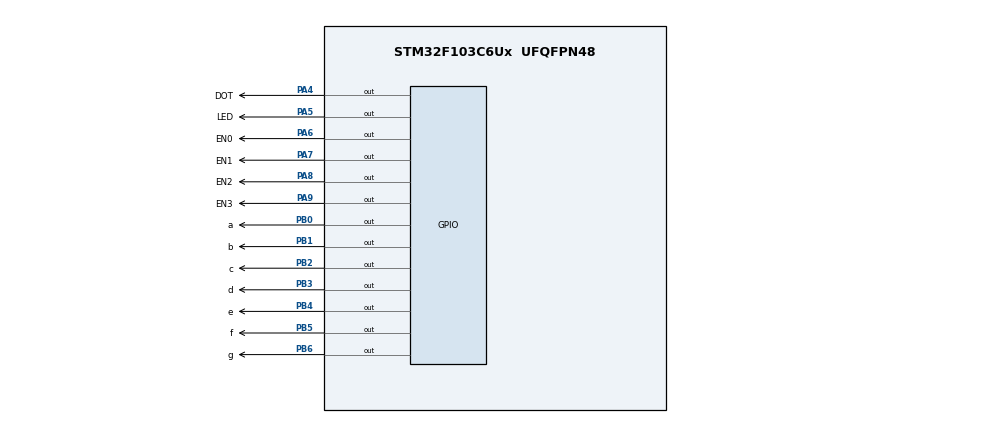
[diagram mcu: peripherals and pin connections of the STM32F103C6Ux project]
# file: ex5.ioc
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Mcu.Family=STM32F1
Mcu.Name=STM32F103C6Ux
Mcu.Package=UFQFPN48
NVIC.PriorityGroup=NVIC_PRIORITYGROUP_4
NVIC.TIM2_IRQn=true\:0\:0\:false\:false\:true\:true\:true
PA4.GPIO_Label=DOT
PA4.Signal=GPIO_Output
PA5.GPIO_Label=LED
PA5.Signal=GPIO_Output
PA6.GPIO_Label=EN0
PA6.Signal=GPIO_Output
PA7.GPIO_Label=EN1
PA7.Signal=GPIO_Output
PA8.GPIO_Label=EN2
PA8.Signal=GPIO_Output
PA9.GPIO_Label=EN3
PA9.Signal=GPIO_Output
PB0.GPIO_Label=a
PB0.Signal=GPIO_Output
PB1.GPIO_Label=b
PB1.Signal=GPIO_Output
PB2.GPIO_Label=c
PB2.Signal=GPIO_Output
PB3.GPIO_Label=d
PB3.Signal=GPIO_Output
PB4.GPIO_Label=e
PB4.Signal=GPIO_Output
PB5.GPIO_Label=f
PB5.Signal=GPIO_Output
PB6.GPIO_Label=g
PB6.Signal=GPIO_Output
ProjectManager.HeapSize=0x200
ProjectManager.StackSize=0x400
ProjectManager.TargetToolchain=STM32CubeIDE
RCC.APB1Freq_Value=8000000
RCC.APB2Freq_Value=8000000
TIM2.Period=9
TIM2.Prescaler=7999
VP_SYS_VS_ND.Mode=No_Debug
VP_TIM2_VS_ClockSourceINT.Mode=Internal
board=custom

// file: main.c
/* USER CODE BEGIN Header */
/**
  ******************************************************************************
  * @file           : main.c
  * @brief          : Main program body
  ******************************************************************************
  * @attention
  *
  * <h2><center>&copy; Copyright (c) 2022 STMicroelectronics.
  * All rights reserved.</center></h2>
  *
  * This software component is licensed by ST under BSD 3-Clause license,
  * the "License"; You may not use this file except in compliance with the
  * License. You may obtain a copy of the License at:
  *                        opensource.org/licenses/BSD-3-Clause
  *
  ******************************************************************************
  */
/* USER CODE END Header */
#include "main.h"

TIM_HandleTypeDef htim2;

void SystemClock_Config(void);
static void MX_GPIO_Init(void);
static void MX_TIM2_Init(void);

int main(void)
{

  /* MCU Configuration--------------------------------------------------------*/

  /* Reset of all peripherals, Initializes the Flash interface and the Systick. */
  HAL_Init();

  /* Configure the system clock */
  SystemClock_Config();

  /* Initialize all configured peripherals */
  MX_GPIO_Init();
  MX_TIM2_Init();
  /* USER CODE BEGIN 2 */

  HAL_TIM_Base_Start_IT(&htim2);

  /* USER CODE END 2 */

  /* Infinite loop */
  /* USER CODE BEGIN WHILE */
  int hour = 15, minute = 8, second = 50;
   while (1)
   {
     /* USER CODE END WHILE */

     /* USER CODE BEGIN 3 */
 	second++;
 	if (second >=60){
 		second = 0;
 		minute++;
 	}
 	if (minute >= 60){
 		minute = 0;
 		hour++;
 	}
 	if (hour >=24){
 		hour = 0;
 	}
 	updateClockBuffer(hour,minute);
 	HAL_Delay(1000);
   }
  /* USER CODE END 3 */
}

void SystemClock_Config(void)
{
  RCC_OscInitTypeDef RCC_OscInitStruct = {0};
  RCC_ClkInitTypeDef RCC_ClkInitStruct = {0};

  /** Initializes the RCC Oscillators according to the specified parameters
  * in the RCC_OscInitTypeDef structure.
  */
  RCC_OscInitStruct.OscillatorType = RCC_OSCILLATORTYPE_HSI;
  RCC_OscInitStruct.HSIState = RCC_HSI_ON;
  RCC_OscInitStruct.HSICalibrationValue = RCC_HSICALIBRATION_DEFAULT;
  RCC_OscInitStruct.PLL.PLLState = RCC_PLL_NONE;
  if (HAL_RCC_OscConfig(&RCC_OscInitStruct) != HAL_OK)
  {
    Error_Handler();
  }
  /** Initializes the CPU, AHB and APB buses clocks
  */
  RCC_ClkInitStruct.ClockType = RCC_CLOCKTYPE_HCLK|RCC_CLOCKTYPE_SYSCLK
                              |RCC_CLOCKTYPE_PCLK1|RCC_CLOCKTYPE_PCLK2;
  RCC_ClkInitStruct.SYSCLKSource = RCC_SYSCLKSOURCE_HSI;
  RCC_ClkInitStruct.AHBCLKDivider = RCC_SYSCLK_DIV1;
  RCC_ClkInitStruct.APB1CLKDivider = RCC_HCLK_DIV1;
  RCC_ClkInitStruct.APB2CLKDivider = RCC_HCLK_DIV1;

  if (HAL_RCC_ClockConfig(&RCC_ClkInitStruct, FLASH_LATENCY_0) != HAL_OK)
  {
    Error_Handler();
  }
}

static void MX_TIM2_Init(void)
{

  TIM_ClockConfigTypeDef sClockSourceConfig = {0};
  TIM_MasterConfigTypeDef sMasterConfig = {0};

  htim2.Instance = TIM2;
  htim2.Init.Prescaler = 7999;
  htim2.Init.CounterMode = TIM_COUNTERMODE_UP;
  htim2.Init.Period = 9;
  htim2.Init.ClockDivision = TIM_CLOCKDIVISION_DIV1;
  htim2.Init.AutoReloadPreload = TIM_AUTORELOAD_PRELOAD_DISABLE;
  if (HAL_TIM_Base_Init(&htim2) != HAL_OK)
  {
    Error_Handler();
  }
  sClockSourceConfig.ClockSource = TIM_CLOCKSOURCE_INTERNAL;
  if (HAL_TIM_ConfigClockSource(&htim2, &sClockSourceConfig) != HAL_OK)
  {
    Error_Handler();
  }
  sMasterConfig.MasterOutputTrigger = TIM_TRGO_RESET;
  sMasterConfig.MasterSlaveMode = TIM_MASTERSLAVEMODE_DISABLE;
  if (HAL_TIMEx_MasterConfigSynchronization(&htim2, &sMasterConfig) != HAL_OK)
  {
    Error_Handler();
  }

}

static void MX_GPIO_Init(void)
{
  GPIO_InitTypeDef GPIO_InitStruct = {0};

  /* GPIO Ports Clock Enable */
  __HAL_RCC_GPIOA_CLK_ENABLE();
  __HAL_RCC_GPIOB_CLK_ENABLE();

  /*Configure GPIO pin Output Level */
  HAL_GPIO_WritePin(GPIOA, DOT_Pin|LED_Pin|EN0_Pin|EN1_Pin
                          |EN2_Pin|EN3_Pin, GPIO_PIN_RESET);

  /*Configure GPIO pin Output Level */
  HAL_GPIO_WritePin(GPIOB, a_Pin|b_Pin|c_Pin|d_Pin
                          |e_Pin|f_Pin|g_Pin, GPIO_PIN_RESET);

  /*Configure GPIO pins : DOT_Pin LED_Pin EN0_Pin EN1_Pin
                           EN2_Pin EN3_Pin */
  GPIO_InitStruct.Pin = DOT_Pin|LED_Pin|EN0_Pin|EN1_Pin
                          |EN2_Pin|EN3_Pin;
  GPIO_InitStruct.Mode = GPIO_MODE_OUTPUT_PP;
  GPIO_InitStruct.Pull = GPIO_NOPULL;
  GPIO_InitStruct.Speed = GPIO_SPEED_FREQ_LOW;
  HAL_GPIO_Init(GPIOA, &GPIO_InitStruct);

  /*Configure GPIO pins : a_Pin b_Pin c_Pin d_Pin
                           e_Pin f_Pin g_Pin */
  GPIO_InitStruct.Pin = a_Pin|b_Pin|c_Pin|d_Pin
                          |e_Pin|f_Pin|g_Pin;
  GPIO_InitStruct.Mode = GPIO_MODE_OUTPUT_PP;
  GPIO_InitStruct.Pull = GPIO_NOPULL;
  GPIO_InitStruct.Speed = GPIO_SPEED_FREQ_LOW;
  HAL_GPIO_Init(GPIOB, &GPIO_InitStruct);

}

/* USER CODE BEGIN 4 */
const int MAX_LED = 4;
int index_led = 0;
int led_buffer[4];
void updateClockBuffer(int hour, int minute){
	  int a = hour%10;
	  hour = hour/10;
	  led_buffer[0]= hour;
	  led_buffer[1] = a;
	  int b = minute%10;
	  minute = minute/10;
	  led_buffer[2]= minute;
	  led_buffer[3] = b;
}
void update7SEG (int index) {
   switch (index) {
     case 0:
       // Display the first 7 SEG with led_buffer [0]
  	 HAL_GPIO_WritePin(EN0_GPIO_Port, EN0_Pin,0);
  	 HAL_GPIO_WritePin(EN1_GPIO_Port, EN1_Pin,1);
	 HAL_GPIO_WritePin(EN2_GPIO_Port, EN2_Pin,1);
	 HAL_GPIO_WritePin(EN3_GPIO_Port, EN3_Pin,1);
       Display7SEG(led_buffer[index]);
       break ;
     case 1:
       // Display the second 7 SEG with led_buffer [1]
       HAL_GPIO_WritePin(EN0_GPIO_Port, EN0_Pin,1);
        HAL_GPIO_WritePin(EN1_GPIO_Port, EN1_Pin,0);
      	 HAL_GPIO_WritePin(EN2_GPIO_Port, EN2_Pin,1);
      	 HAL_GPIO_WritePin(EN3_GPIO_Port, EN3_Pin,1);
       Display7SEG(led_buffer[index]);
       break ;
     case 2:
       // Display the third 7 SEG with led_buffer [2]
    	 HAL_GPIO_WritePin(EN0_GPIO_Port, EN0_Pin,1);
    	  	 HAL_GPIO_WritePin(EN1_GPIO_Port, EN1_Pin,1);
    		 HAL_GPIO_WritePin(EN2_GPIO_Port, EN2_Pin,0);
    		 HAL_GPIO_WritePin(EN3_GPIO_Port, EN3_Pin,1);
       Display7SEG(led_buffer[index]);
       break ;
     case 3:
       // Display the forth 7 SEG with led_buffer [3]
    	 HAL_GPIO_WritePin(EN0_GPIO_Port, EN0_Pin,1);
    	  	 HAL_GPIO_WritePin(EN1_GPIO_Port, EN1_Pin,1);
    		 HAL_GPIO_WritePin(EN2_GPIO_Port, EN2_Pin,1);
    		 HAL_GPIO_WritePin(EN3_GPIO_Port, EN3_Pin,0);
       index_led = 0;
       Display7SEG(led_buffer[index]);
       break ;
     default :
       break ;
   }
}
void Display7SEG(int count){
	switch (count) {
		case 0:
			HAL_GPIO_WritePin(a_GPIO_Port, a_Pin, 0);
			HAL_GPIO_WritePin(b_GPIO_Port, b_Pin, 0);
			HAL_GPIO_WritePin(c_GPIO_Port, c_Pin, 0);
			HAL_GPIO_WritePin(d_GPIO_Port, d_Pin, 0);
			HAL_GPIO_WritePin(e_GPIO_Port, e_Pin, 0);
			HAL_GPIO_WritePin(f_GPIO_Port, f_Pin, 0);
			HAL_GPIO_WritePin(g_GPIO_Port, g_Pin, 1);
			break;
		case 1:
				HAL_GPIO_WritePin(a_GPIO_Port, a_Pin, 1);
				HAL_GPIO_WritePin(b_GPIO_Port, b_Pin, 0);
				HAL_GPIO_WritePin(c_GPIO_Port, c_Pin, 0);
				HAL_GPIO_WritePin(d_GPIO_Port, d_Pin, 1);
				HAL_GPIO_WritePin(e_GPIO_Port, e_Pin, 1);
				HAL_GPIO_WritePin(f_GPIO_Port, f_Pin, 1);
				HAL_GPIO_WritePin(g_GPIO_Port, g_Pin, 1);
				break;
		case 2:
				HAL_GPIO_WritePin(a_GPIO_Port, a_Pin, 0);
				HAL_GPIO_WritePin(b_GPIO_Port, b_Pin, 0);
				HAL_GPIO_WritePin(c_GPIO_Port, c_Pin, 1);
				HAL_GPIO_WritePin(d_GPIO_Port, d_Pin, 0);
				HAL_GPIO_WritePin(e_GPIO_Port, e_Pin, 0);
				HAL_GPIO_WritePin(f_GPIO_Port, f_Pin, 1);
				HAL_GPIO_WritePin(g_GPIO_Port, g_Pin, 0);
				break;
		case 3:
				HAL_GPIO_WritePin(a_GPIO_Port, a_Pin, 0);
				HAL_GPIO_WritePin(b_GPIO_Port, b_Pin, 0);
				HAL_GPIO_WritePin(c_GPIO_Port, c_Pin, 0);
				HAL_GPIO_WritePin(d_GPIO_Port, d_Pin, 0);
				HAL_GPIO_WritePin(e_GPIO_Port, e_Pin, 1);
				HAL_GPIO_WritePin(f_GPIO_Port, f_Pin, 1);
				HAL_GPIO_WritePin(g_GPIO_Port, g_Pin, 0);
				break;
		case 4:
				HAL_GPIO_WritePin(a_GPIO_Port, a_Pin, 1);
				HAL_GPIO_WritePin(b_GPIO_Port, b_Pin, 0);
				HAL_GPIO_WritePin(c_GPIO_Port, c_Pin, 0);
				HAL_GPIO_WritePin(d_GPIO_Port, d_Pin, 1);
				HAL_GPIO_WritePin(e_GPIO_Port, e_Pin, 1);
				HAL_GPIO_WritePin(f_GPIO_Port, f_Pin, 0);
				HAL_GPIO_WritePin(g_GPIO_Port, g_Pin, 0);
				break;
		case 5:
				HAL_GPIO_WritePin(a_GPIO_Port, a_Pin, 0);
				HAL_GPIO_WritePin(b_GPIO_Port, b_Pin, 1);
				HAL_GPIO_WritePin(c_GPIO_Port, c_Pin, 0);
				HAL_GPIO_WritePin(d_GPIO_Port, d_Pin, 0);
				HAL_GPIO_WritePin(e_GPIO_Port, e_Pin, 1);
				HAL_GPIO_WritePin(f_GPIO_Port, f_Pin, 0);
				HAL_GPIO_WritePin(g_GPIO_Port, g_Pin, 0);
				break;
		case 6:
				HAL_GPIO_WritePin(a_GPIO_Port, a_Pin, 0);
				HAL_GPIO_WritePin(b_GPIO_Port, b_Pin, 1);
				HAL_GPIO_WritePin(c_GPIO_Port, c_Pin, 0);
				HAL_GPIO_WritePin(d_GPIO_Port, d_Pin, 0);
				HAL_GPIO_WritePin(e_GPIO_Port, e_Pin, 0);
				HAL_GPIO_WritePin(f_GPIO_Port, f_Pin, 0);
				HAL_GPIO_WritePin(g_GPIO_Port, g_Pin, 0);
				break;
		case 7:
				HAL_GPIO_WritePin(a_GPIO_Port, a_Pin, 0);
				HAL_GPIO_WritePin(b_GPIO_Port, b_Pin, 0);
				HAL_GPIO_WritePin(c_GPIO_Port, c_Pin, 0);
				HAL_GPIO_WritePin(d_GPIO_Port, d_Pin, 1);
				HAL_GPIO_WritePin(e_GPIO_Port, e_Pin, 1);
				HAL_GPIO_WritePin(f_GPIO_Port, f_Pin, 1);
				HAL_GPIO_WritePin(g_GPIO_Port, g_Pin, 1);
				break;
		case 8:
				HAL_GPIO_WritePin(a_GPIO_Port, a_Pin, 0);
				HAL_GPIO_WritePin(b_GPIO_Port, b_Pin, 0);
				HAL_GPIO_WritePin(c_GPIO_Port, c_Pin, 0);
				HAL_GPIO_WritePin(d_GPIO_Port, d_Pin, 0);
				HAL_GPIO_WritePin(e_GPIO_Port, e_Pin, 0);
				HAL_GPIO_WritePin(f_GPIO_Port, f_Pin, 0);
				HAL_GPIO_WritePin(g_GPIO_Port, g_Pin, 0);
				break;
		case 9:
				HAL_GPIO_WritePin(a_GPIO_Port, a_Pin, 0);
				HAL_GPIO_WritePin(b_GPIO_Port, b_Pin, 0);
				HAL_GPIO_WritePin(c_GPIO_Port, c_Pin, 0);
				HAL_GPIO_WritePin(d_GPIO_Port, d_Pin, 0);
				HAL_GPIO_WritePin(e_GPIO_Port, e_Pin, 1);
				HAL_GPIO_WritePin(f_GPIO_Port, f_Pin, 0);
				HAL_GPIO_WritePin(g_GPIO_Port, g_Pin, 0);
				break;
		default:
			break;
	}
}
int counter1 = 100;
int counter2 = 50;
int flag = 1;
/*int number =1;
/*void HAL_TIM_PeriodElapsedCallback(TIM_HandleTypeDef * htim){
	counter1--;
	counter2--;
	if (counter1 <= 0){
		counter1 = 100;
		if (flag == 1){
			 HAL_GPIO_WritePin(DOT_GPIO_Port, DOT_Pin,0);
			 flag = 0;
		}
		else{
			HAL_GPIO_WritePin(DOT_GPIO_Port, DOT_Pin,1);
		    flag = 1;
		}
	}
     if (counter2 <= 0){
    	 counter2 = 50;
    	 if (number == 1){
    	 HAL_GPIO_WritePin(EN0_GPIO_Port, EN0_Pin,0);
    	 HAL_GPIO_WritePin(EN1_GPIO_Port, EN1_Pin,1);
    	 HAL_GPIO_WritePin(EN2_GPIO_Port, EN2_Pin,1);
    	 HAL_GPIO_WritePin(EN3_GPIO_Port, EN3_Pin,1);
    	 Display7SEG(1);
    	 number++;
    	 }
    	 else if (number == 2){
    		 HAL_GPIO_WritePin(EN0_GPIO_Port, EN0_Pin,1);
    		 HAL_GPIO_WritePin(EN1_GPIO_Port, EN1_Pin,0);
    		 HAL_GPIO_WritePin(EN2_GPIO_Port, EN2_Pin,1);
    		 HAL_GPIO_WritePin(EN3_GPIO_Port, EN3_Pin,1);
    		 Display7SEG(2);
    		 number++;
    	 }
    	 else if (number == 3){
    	    HAL_GPIO_WritePin(EN0_GPIO_Port, EN0_Pin,1);
    	    HAL_GPIO_WritePin(EN1_GPIO_Port, EN1_Pin,1);
    	    HAL_GPIO_WritePin(EN2_GPIO_Port, EN2_Pin,0);
    	    HAL_GPIO_WritePin(EN3_GPIO_Port, EN3_Pin,1);
    	    Display7SEG(3);
    	    number++;
    	  }
    	 else{
    	    HAL_GPIO_WritePin(EN0_GPIO_Port, EN0_Pin,1);
    	    HAL_GPIO_WritePin(EN1_GPIO_Port, EN1_Pin,1);
    	    HAL_GPIO_WritePin(EN2_GPIO_Port, EN2_Pin,1);
    	    HAL_GPIO_WritePin(EN3_GPIO_Port, EN3_Pin,0);
    	    Display7SEG(0);
    	    number= 1;
    	  }
     }
}*/

void HAL_TIM_PeriodElapsedCallback(TIM_HandleTypeDef * htim){
	counter1--;
	counter2--;
	if (counter1 <= 0){
		counter1 = 100;
		if (flag == 1){
			 HAL_GPIO_WritePin(DOT_GPIO_Port, DOT_Pin,0);
			 flag = 0;
		}
		else{
			HAL_GPIO_WritePin(DOT_GPIO_Port, DOT_Pin,1);
		    flag = 1;
		}
	}
     if (counter2 <= 0){
    	 counter2 = 50;
    	 update7SEG(index_led++);
     }
}
/* USER CODE END 4 */

void Error_Handler(void)
{
  __disable_irq();
  while (1)
  {
  }
}

/************************ (C) COPYRIGHT STMicroelectronics *****END OF FILE****/
